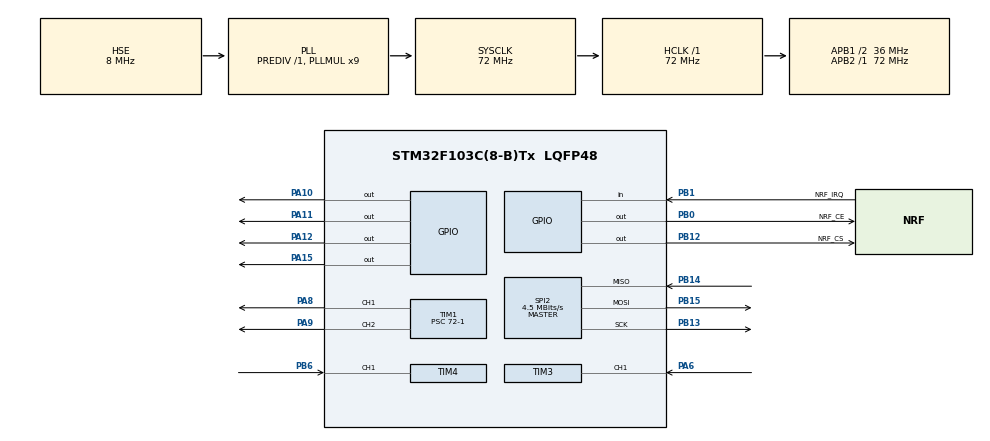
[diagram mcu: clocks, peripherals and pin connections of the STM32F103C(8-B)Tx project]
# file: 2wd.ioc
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Mcu.Family=STM32F1
Mcu.Name=STM32F103C(8-B)Tx
Mcu.Package=LQFP48
NVIC.PriorityGroup=NVIC_PRIORITYGROUP_4
PA10.Signal=GPIO_Output
PA11.Signal=GPIO_Output
PA12.Signal=GPIO_Output
PA13.Mode=Serial_Wire
PA13.Signal=SYS_JTMS-SWDIO
PA14.Mode=Serial_Wire
PA14.Signal=SYS_JTCK-SWCLK
PA15.Signal=GPIO_Output
PA6.Signal=S_TIM3_CH1
PA8.Signal=S_TIM1_CH1
PA9.Signal=S_TIM1_CH2
PB0.GPIO_Label=NRF_CE
PB0.Signal=GPIO_Output
PB1.GPIO_Label=NRF_IRQ
PB1.Signal=GPIO_Input
PB12.GPIO_Label=NRF_CS
PB12.Signal=GPIO_Output
PB13.Mode=Full_Duplex_Master
PB13.Signal=SPI2_SCK
PB14.Mode=Full_Duplex_Master
PB14.Signal=SPI2_MISO
PB15.Mode=Full_Duplex_Master
PB15.Signal=SPI2_MOSI
PB6.Signal=S_TIM4_CH1
PD0-OSC_IN.Mode=HSE-External-Oscillator
PD0-OSC_IN.Signal=RCC_OSC_IN
PD1-OSC_OUT.Mode=HSE-External-Oscillator
PD1-OSC_OUT.Signal=RCC_OSC_OUT
ProjectManager.HeapSize=0x200
ProjectManager.StackSize=0x400
ProjectManager.TargetToolchain=EWARM V8
RCC.AHBFreq_Value=72000000
RCC.APB1CLKDivider=RCC_HCLK_DIV2
RCC.APB1Freq_Value=36000000
RCC.APB1TimFreq_Value=72000000
RCC.APB2Freq_Value=72000000
RCC.APB2TimFreq_Value=72000000
RCC.HCLKFreq_Value=72000000
RCC.PLLMUL=RCC_PLL_MUL9
RCC.PLLSourceVirtual=RCC_PLLSOURCE_HSE
RCC.SYSCLKFreq_VALUE=72000000
RCC.SYSCLKSource=RCC_SYSCLKSOURCE_PLLCLK
RCC.USBFreq_Value=72000000
SH.S_TIM1_CH1.0=TIM1_CH1,PWM Generation1 CH1
SH.S_TIM1_CH2.0=TIM1_CH2,PWM Generation2 CH2
SH.S_TIM3_CH1.0=TIM3_CH1,TriggerSource_TI1FP1
SH.S_TIM4_CH1.0=TIM4_CH1,TriggerSource_TI1FP1
SPI2.BaudRatePrescaler=SPI_BAUDRATEPRESCALER_8
SPI2.CalculateBaudRate=4.5 MBits/s
SPI2.Direction=SPI_DIRECTION_2LINES
SPI2.Mode=SPI_MODE_MASTER
SPI2.VirtualType=VM_MASTER
TIM1.Channel-PWM\ Generation1\ CH1=TIM_CHANNEL_1
TIM1.Channel-PWM\ Generation2\ CH2=TIM_CHANNEL_2
TIM1.Period=50-1
TIM1.Prescaler=72-1
TIM3.Period=65535
TIM3.Slave_TriggerFilter=15
TIM4.Period=65535
TIM4.Slave_TriggerFilter=15
VP_TIM3_VS_ControllerModeClock.Mode=Clock Mode
VP_TIM4_VS_ControllerModeClock.Mode=Clock Mode
board=custom

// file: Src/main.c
/* USER CODE BEGIN Header */
/**
  ******************************************************************************
  * @file           : main.c
  * @brief          : Main program body
  ******************************************************************************
  * @attention
  *
  * <h2><center>&copy; Copyright (c) 2019 STMicroelectronics.
  * All rights reserved.</center></h2>
  *
  * This software component is licensed by ST under BSD 3-Clause license,
  * the "License"; You may not use this file except in compliance with the
  * License. You may obtain a copy of the License at:
  *                        opensource.org/licenses/BSD-3-Clause
  *
  ******************************************************************************
  */
/* USER CODE END Header */

#include "main.h"

/* USER CODE BEGIN Includes */
#include "MY_NRF24.h"
#include "nrf_mavlink.h"
#include "motors.h"
#include "mode.h"
#include "stm32_hal_legacy.h"
/* USER CODE END Includes */

SPI_HandleTypeDef hspi2;

TIM_HandleTypeDef htim1;
TIM_HandleTypeDef htim3;
TIM_HandleTypeDef htim4;

/* USER CODE BEGIN PV */
uint32_t count = 0;
/* USER CODE END PV */

void SystemClock_Config(void);
static void MX_GPIO_Init(void);
static void MX_TIM1_Init(void);
static void MX_TIM3_Init(void);
static void MX_TIM4_Init(void);
static void MX_SPI2_Init(void);

/* USER CODE BEGIN 0 */
uint64_t TxpipeAddrs = 0x11223344AA;
/* USER CODE END 0 */

int main(void)
{

  /* MCU Configuration--------------------------------------------------------*/

  /* Reset of all peripherals, Initializes the Flash interface and the Systick. */
  HAL_Init();

  /* Configure the system clock */
  SystemClock_Config();

  /* Initialize all configured peripherals */
  MX_GPIO_Init();
  MX_TIM1_Init();
  MX_TIM3_Init();
  MX_TIM4_Init();
  MX_SPI2_Init();
  /* USER CODE BEGIN 2 */
  NRF24_begin(NRF_CE_GPIO_Port, NRF_CS_Pin, NRF_CE_Pin, hspi2);
  printRadioSettings();

  //**** TRANSMIT - ACK ****//
  NRF24_stopListening();
  NRF24_openWritingPipe(TxpipeAddrs);
  NRF24_setAutoAck(true);
  NRF24_setChannel(52);
  NRF24_setPayloadSize(32);

  NRF24_enableDynamicPayloads();
  NRF24_enableAckPayload();

  Motors_Init();

  HAL_TIM_Base_Start(&htim3);
  HAL_TIM_Base_Start(&htim4);
  /* USER CODE END 2 */

  /* Infinite loop */
  /* USER CODE BEGIN WHILE */
  while (1)
  {
    update_mavlink();

    count = __HAL_TIM_GetCounter(&htim3);
    /* USER CODE END WHILE */

    /* USER CODE BEGIN 3 */
    update_mode();

    HAL_Delay(20);
  }
  /* USER CODE END 3 */
}

void SystemClock_Config(void)
{
  RCC_OscInitTypeDef RCC_OscInitStruct = {0};
  RCC_ClkInitTypeDef RCC_ClkInitStruct = {0};

  /** Initializes the CPU, AHB and APB busses clocks
  */
  RCC_OscInitStruct.OscillatorType = RCC_OSCILLATORTYPE_HSE;
  RCC_OscInitStruct.HSEState = RCC_HSE_ON;
  RCC_OscInitStruct.HSEPredivValue = RCC_HSE_PREDIV_DIV1;
  RCC_OscInitStruct.HSIState = RCC_HSI_ON;
  RCC_OscInitStruct.PLL.PLLState = RCC_PLL_ON;
  RCC_OscInitStruct.PLL.PLLSource = RCC_PLLSOURCE_HSE;
  RCC_OscInitStruct.PLL.PLLMUL = RCC_PLL_MUL9;
  if (HAL_RCC_OscConfig(&RCC_OscInitStruct) != HAL_OK)
  {
    Error_Handler();
  }
  /** Initializes the CPU, AHB and APB busses clocks
  */
  RCC_ClkInitStruct.ClockType = RCC_CLOCKTYPE_HCLK|RCC_CLOCKTYPE_SYSCLK
                              |RCC_CLOCKTYPE_PCLK1|RCC_CLOCKTYPE_PCLK2;
  RCC_ClkInitStruct.SYSCLKSource = RCC_SYSCLKSOURCE_PLLCLK;
  RCC_ClkInitStruct.AHBCLKDivider = RCC_SYSCLK_DIV1;
  RCC_ClkInitStruct.APB1CLKDivider = RCC_HCLK_DIV2;
  RCC_ClkInitStruct.APB2CLKDivider = RCC_HCLK_DIV1;

  if (HAL_RCC_ClockConfig(&RCC_ClkInitStruct, FLASH_LATENCY_2) != HAL_OK)
  {
    Error_Handler();
  }
}

static void MX_SPI2_Init(void)
{

  /* SPI2 parameter configuration*/
  hspi2.Instance = SPI2;
  hspi2.Init.Mode = SPI_MODE_MASTER;
  hspi2.Init.Direction = SPI_DIRECTION_2LINES;
  hspi2.Init.DataSize = SPI_DATASIZE_8BIT;
  hspi2.Init.CLKPolarity = SPI_POLARITY_LOW;
  hspi2.Init.CLKPhase = SPI_PHASE_1EDGE;
  hspi2.Init.NSS = SPI_NSS_SOFT;
  hspi2.Init.BaudRatePrescaler = SPI_BAUDRATEPRESCALER_8;
  hspi2.Init.FirstBit = SPI_FIRSTBIT_MSB;
  hspi2.Init.TIMode = SPI_TIMODE_DISABLE;
  hspi2.Init.CRCCalculation = SPI_CRCCALCULATION_DISABLE;
  hspi2.Init.CRCPolynomial = 10;
  if (HAL_SPI_Init(&hspi2) != HAL_OK)
  {
    Error_Handler();
  }

}

static void MX_TIM1_Init(void)
{

  TIM_MasterConfigTypeDef sMasterConfig = {0};
  TIM_OC_InitTypeDef sConfigOC = {0};
  TIM_BreakDeadTimeConfigTypeDef sBreakDeadTimeConfig = {0};

  htim1.Instance = TIM1;
  htim1.Init.Prescaler = 72-1;
  htim1.Init.CounterMode = TIM_COUNTERMODE_UP;
  htim1.Init.Period = 50-1;
  htim1.Init.ClockDivision = TIM_CLOCKDIVISION_DIV1;
  htim1.Init.RepetitionCounter = 0;
  htim1.Init.AutoReloadPreload = TIM_AUTORELOAD_PRELOAD_DISABLE;
  if (HAL_TIM_PWM_Init(&htim1) != HAL_OK)
  {
    Error_Handler();
  }
  sMasterConfig.MasterOutputTrigger = TIM_TRGO_RESET;
  sMasterConfig.MasterSlaveMode = TIM_MASTERSLAVEMODE_DISABLE;
  if (HAL_TIMEx_MasterConfigSynchronization(&htim1, &sMasterConfig) != HAL_OK)
  {
    Error_Handler();
  }
  sConfigOC.OCMode = TIM_OCMODE_PWM1;
  sConfigOC.Pulse = 0;
  sConfigOC.OCPolarity = TIM_OCPOLARITY_HIGH;
  sConfigOC.OCNPolarity = TIM_OCNPOLARITY_HIGH;
  sConfigOC.OCFastMode = TIM_OCFAST_DISABLE;
  sConfigOC.OCIdleState = TIM_OCIDLESTATE_RESET;
  sConfigOC.OCNIdleState = TIM_OCNIDLESTATE_RESET;
  if (HAL_TIM_PWM_ConfigChannel(&htim1, &sConfigOC, TIM_CHANNEL_1) != HAL_OK)
  {
    Error_Handler();
  }
  if (HAL_TIM_PWM_ConfigChannel(&htim1, &sConfigOC, TIM_CHANNEL_2) != HAL_OK)
  {
    Error_Handler();
  }
  sBreakDeadTimeConfig.OffStateRunMode = TIM_OSSR_DISABLE;
  sBreakDeadTimeConfig.OffStateIDLEMode = TIM_OSSI_DISABLE;
  sBreakDeadTimeConfig.LockLevel = TIM_LOCKLEVEL_OFF;
  sBreakDeadTimeConfig.DeadTime = 0;
  sBreakDeadTimeConfig.BreakState = TIM_BREAK_DISABLE;
  sBreakDeadTimeConfig.BreakPolarity = TIM_BREAKPOLARITY_HIGH;
  sBreakDeadTimeConfig.AutomaticOutput = TIM_AUTOMATICOUTPUT_DISABLE;
  if (HAL_TIMEx_ConfigBreakDeadTime(&htim1, &sBreakDeadTimeConfig) != HAL_OK)
  {
    Error_Handler();
  }
  HAL_TIM_MspPostInit(&htim1);

}

static void MX_TIM3_Init(void)
{

  TIM_SlaveConfigTypeDef sSlaveConfig = {0};
  TIM_MasterConfigTypeDef sMasterConfig = {0};

  htim3.Instance = TIM3;
  htim3.Init.Prescaler = 0;
  htim3.Init.CounterMode = TIM_COUNTERMODE_UP;
  htim3.Init.Period = 65535;
  htim3.Init.ClockDivision = TIM_CLOCKDIVISION_DIV1;
  htim3.Init.AutoReloadPreload = TIM_AUTORELOAD_PRELOAD_DISABLE;
  if (HAL_TIM_Base_Init(&htim3) != HAL_OK)
  {
    Error_Handler();
  }
  sSlaveConfig.SlaveMode = TIM_SLAVEMODE_EXTERNAL1;
  sSlaveConfig.InputTrigger = TIM_TS_TI1FP1;
  sSlaveConfig.TriggerPolarity = TIM_TRIGGERPOLARITY_RISING;
  sSlaveConfig.TriggerFilter = 15;
  if (HAL_TIM_SlaveConfigSynchronization(&htim3, &sSlaveConfig) != HAL_OK)
  {
    Error_Handler();
  }
  sMasterConfig.MasterOutputTrigger = TIM_TRGO_RESET;
  sMasterConfig.MasterSlaveMode = TIM_MASTERSLAVEMODE_DISABLE;
  if (HAL_TIMEx_MasterConfigSynchronization(&htim3, &sMasterConfig) != HAL_OK)
  {
    Error_Handler();
  }

}

static void MX_TIM4_Init(void)
{

  TIM_SlaveConfigTypeDef sSlaveConfig = {0};
  TIM_MasterConfigTypeDef sMasterConfig = {0};

  htim4.Instance = TIM4;
  htim4.Init.Prescaler = 0;
  htim4.Init.CounterMode = TIM_COUNTERMODE_UP;
  htim4.Init.Period = 65535;
  htim4.Init.ClockDivision = TIM_CLOCKDIVISION_DIV1;
  htim4.Init.AutoReloadPreload = TIM_AUTORELOAD_PRELOAD_DISABLE;
  if (HAL_TIM_Base_Init(&htim4) != HAL_OK)
  {
    Error_Handler();
  }
  sSlaveConfig.SlaveMode = TIM_SLAVEMODE_EXTERNAL1;
  sSlaveConfig.InputTrigger = TIM_TS_TI1FP1;
  sSlaveConfig.TriggerPolarity = TIM_TRIGGERPOLARITY_RISING;
  sSlaveConfig.TriggerFilter = 15;
  if (HAL_TIM_SlaveConfigSynchronization(&htim4, &sSlaveConfig) != HAL_OK)
  {
    Error_Handler();
  }
  sMasterConfig.MasterOutputTrigger = TIM_TRGO_RESET;
  sMasterConfig.MasterSlaveMode = TIM_MASTERSLAVEMODE_DISABLE;
  if (HAL_TIMEx_MasterConfigSynchronization(&htim4, &sMasterConfig) != HAL_OK)
  {
    Error_Handler();
  }

}

static void MX_GPIO_Init(void)
{
  GPIO_InitTypeDef GPIO_InitStruct = {0};

  /* GPIO Ports Clock Enable */
  __HAL_RCC_GPIOD_CLK_ENABLE();
  __HAL_RCC_GPIOA_CLK_ENABLE();
  __HAL_RCC_GPIOB_CLK_ENABLE();

  /*Configure GPIO pin Output Level */
  HAL_GPIO_WritePin(GPIOB, NRF_CE_Pin|NRF_CS_Pin, GPIO_PIN_RESET);

  /*Configure GPIO pin Output Level */
  HAL_GPIO_WritePin(GPIOA, GPIO_PIN_10|GPIO_PIN_11|GPIO_PIN_12|GPIO_PIN_15, GPIO_PIN_RESET);

  /*Configure GPIO pins : NRF_CE_Pin NRF_CS_Pin */
  GPIO_InitStruct.Pin = NRF_CE_Pin|NRF_CS_Pin;
  GPIO_InitStruct.Mode = GPIO_MODE_OUTPUT_PP;
  GPIO_InitStruct.Pull = GPIO_NOPULL;
  GPIO_InitStruct.Speed = GPIO_SPEED_FREQ_LOW;
  HAL_GPIO_Init(GPIOB, &GPIO_InitStruct);

  /*Configure GPIO pin : NRF_IRQ_Pin */
  GPIO_InitStruct.Pin = NRF_IRQ_Pin;
  GPIO_InitStruct.Mode = GPIO_MODE_INPUT;
  GPIO_InitStruct.Pull = GPIO_NOPULL;
  HAL_GPIO_Init(NRF_IRQ_GPIO_Port, &GPIO_InitStruct);

  /*Configure GPIO pins : PA10 PA11 PA12 PA15 */
  GPIO_InitStruct.Pin = GPIO_PIN_10|GPIO_PIN_11|GPIO_PIN_12|GPIO_PIN_15;
  GPIO_InitStruct.Mode = GPIO_MODE_OUTPUT_PP;
  GPIO_InitStruct.Pull = GPIO_NOPULL;
  GPIO_InitStruct.Speed = GPIO_SPEED_FREQ_LOW;
  HAL_GPIO_Init(GPIOA, &GPIO_InitStruct);

}

void Error_Handler(void)
{
}

/************************ (C) COPYRIGHT STMicroelectronics *****END OF FILE****/
